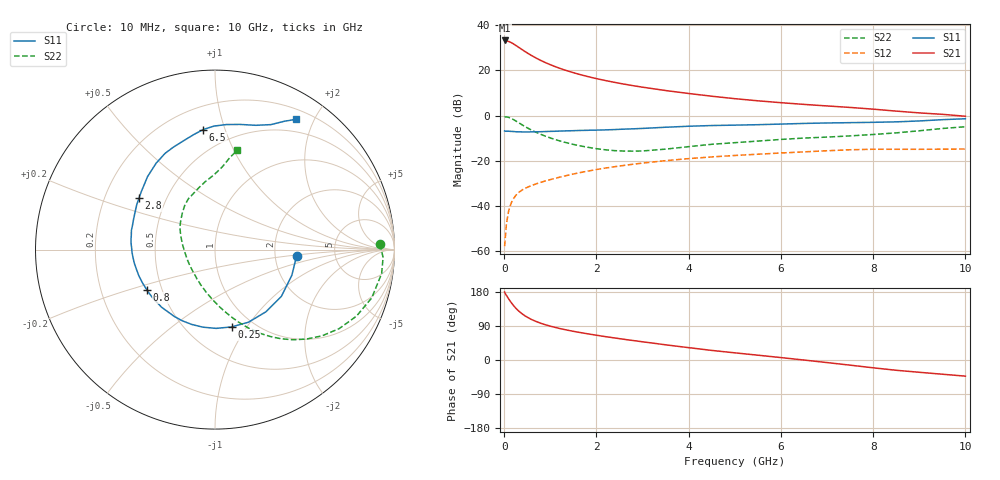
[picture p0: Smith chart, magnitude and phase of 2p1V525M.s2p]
! (c) 2009  Infineon Technologies AG, Munich
! Infineon Technologies  Discrete & RF Semiconductors
! BFP420
! VCE =  1.5 V,  IC =  25 mA
! Common Emitter S-Parameters:  Nov 2009
# GHz  S  MA  R  50
!  f  S11  S21  S12  S22
! GHz  MAG  ANG  MAG  ANG  MAG  ANG  MAG  ANG
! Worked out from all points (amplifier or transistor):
!   46 points, 10 MHz to 10 GHz, reference 50 ohm
!   highest |S21| = 33.2 dB at 10 MHz (marker M1)
!   |S21| within 3 dB of that: start of sweep to 312.9 MHz
!   unconditionally stable (mu >= 1): 1.604 GHz to end of sweep
!   at 300 MHz: K = 0.37, MSG = 32.3 dB, |S12| = -34.2 dB
!   at 1.7 GHz: K = 1.02, MAG = 20.6 dB, |S12| = -25.0 dB
!   at 10 GHz: K = 1.06, MAG = 5.7 dB, |S12| = -14.8 dB
!   lowest NFmin = 1.38 dB at 900 MHz
!   S11 on the Smith chart (normalised r, x): 10 MHz: 2.67, -0.24; 250 MHz: 0.80, -0.85; 800 MHz: 0.41, -0.23; 2.8 GHz: 0.35, +0.27; 6.5 GHz: 0.35, +0.85; 10 GHz: 0.33, +1.75
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0.01  0.4595 -4.5  45.93 179.4  0.0013 102.7  0.9201 1.9
0.02  0.453 -7.2  45.12 176.3  0.0017 91.3  0.9375 -2.7
0.05  0.4515 -18.4  44.84 170.4  0.0041 84.7  0.938 -8.2
0.1  0.4525 -35.1  43.6 160.9  0.008 78.4  0.9138 -17.1
0.15  0.4477 -50.7  41.33 152.0  0.0115 73.4  0.8711 -25.2
0.2  0.4455 -65.2  38.71 144.2  0.0145 68.9  0.8198 -32.5
0.25  0.4405 -77.9  35.81 137.1  0.0171 65.4  0.7663 -38.8
0.35  0.4374 -98.9  30.66 125.7  0.0213 60.2  0.6626 -49.3
0.4  0.4366 -107.3  28.34 120.9  0.023 58.6  0.6169 -53.6
0.5  0.436 -121.5  24.34 113.0  0.026 56.3  0.538 -60.9
0.6  0.4377 -132.7  21.15 106.5  0.0287 55.0  0.4751 -66.9
0.8  0.4413 -149.3  16.5 96.7  0.0336 54.1  0.3837 -76.6
1  0.4488 -161.2  13.38 89.3  0.0385 53.9  0.3215 -85.2
1.2  0.4559 -170.4  11.18 83.2  0.0435 53.7  0.2771 -93.2
1.7  0.4717 172.5  7.826 71.4  0.0564 52.0  0.2097 -112.8
2.8  0.5113 146.0  4.59 51.3  0.0844 44.4  0.1639 -160.3
3.5  0.5539 132.7  3.591 40.1  0.101 38.1  0.1817 172.2
5.5  0.6306 106.3  2.128 12.7  0.1403 19.6  0.2737 131.6
6.5  0.6723 95.6  1.772 -0.1  0.1581 10.3  0.3193 117.8
7  0.6883 90.4  1.638 -6.8  0.1674 5.4  0.3354 110.8
8.5  0.7289 71.8  1.259 -27.1  0.1803 -11.8  0.4156 90.9
10  0.8534 58.2  0.969 -42.6  0.1828 -22.9  0.5681 77.3
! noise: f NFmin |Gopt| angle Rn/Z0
0.9  1.38  0.22  -154  0.13
1.8  1.65  0.29  -143  0.13
2.4  1.81  0.26  -138  0.17
3  1.83  0.34  -129  0.18
4  1.97  0.45  -112  0.27
5  2.4  0.49  -95  0.44
6  2.85  0.54  -84  0.65
